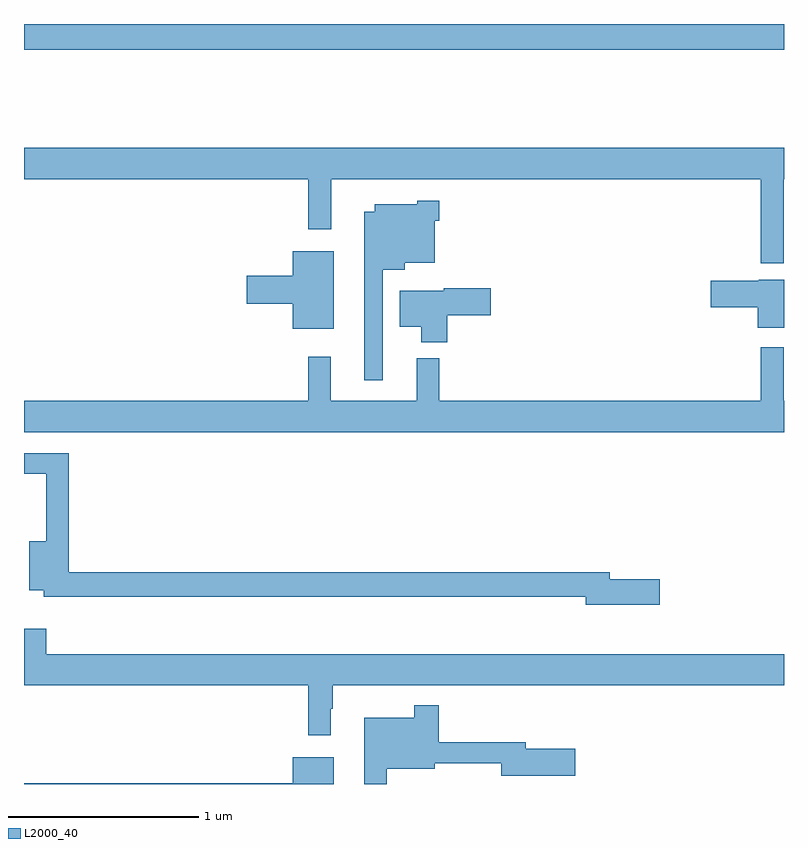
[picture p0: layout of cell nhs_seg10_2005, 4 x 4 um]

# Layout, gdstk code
import gdstk
lib = gdstk.Library(unit=1e-6, precision=1e-09)
def R(c, l, rs):  # rectangles x0, y0, x1, y1
    for r in rs: c.add(gdstk.rectangle(r[:2], r[2:], *l))
def P(c, l, *ps):  # polygons
    for p in ps: c.add(gdstk.Polygon(p, *l))
L2000_40 = (2000, 40)

nhs_seg10_2005 = lib.new_cell('nhs_seg10_2005')
R(nhs_seg10_2005, L2000_40, [(217,1266.364,221,1266.5)])
P(nhs_seg10_2005, L2000_40, [(220.999,1265.684),(221,1265.684),(221,1265.848),(217,1265.848),(217,1265.684),(218.497,1265.684),(218.497,1265.421),(218.616,1265.421),(218.616,1265.684),(220.878,1265.684),(220.878,1265.24),(220.999,1265.24)],
  [(218.889,1265.207),(219.004,1265.207),(219.004,1265.243),(219.163,1265.243),(219.163,1265.465),(219.185,1265.465),(219.185,1265.569),(219.069,1265.569),(219.069,1265.551),(218.846,1265.551),(218.846,1265.512),(218.792,1265.512),(218.792,1264.626),(218.889,1264.626)],
  [(218.629,1265.305),(218.414,1265.305),(218.414,1265.174),(218.172,1265.174),(218.172,1265.027),(218.414,1265.027),(218.414,1264.895),(218.629,1264.895)],
  [(221,1265.155),(220.866,1265.155),(220.866,1265.15),(220.614,1265.15),(220.614,1265.008),(220.862,1265.008),(220.862,1264.901),(221,1264.901)],
  [(219.227,1264.966),(219.457,1264.966),(219.457,1265.108),(219.21,1265.108),(219.21,1265.095),(218.978,1265.095),(218.978,1264.907),(219.092,1264.907),(219.092,1264.826),(219.227,1264.826)],
  [(221,1264.516),(220.999,1264.516),(220.999,1264.798),(220.878,1264.798),(220.878,1264.516),(219.185,1264.516),(219.185,1264.741),(219.068,1264.741),(219.068,1264.516),(218.615,1264.516),(218.615,1264.75),(218.497,1264.75),(218.497,1264.516),(217,1264.516),(217,1264.352),(221,1264.352)],
  [(220.345,1263.578),(220.084,1263.578),(220.084,1263.614),(217.235,1263.614),(217.235,1264.242),(217,1264.242),(217,1264.134),(217.118,1264.134),(217.118,1263.778),(217.028,1263.778),(217.028,1263.521),(217.104,1263.521),(217.104,1263.486),(219.956,1263.486),(219.956,1263.443),(220.345,1263.443)],
  [(218.614,1262.897),(218.626,1262.897),(218.626,1263.02),(221,1263.02),(221,1263.184),(217.118,1263.184),(217.118,1263.316),(217,1263.316),(217,1263.02),(218.497,1263.02),(218.497,1262.757),(218.614,1262.757)],
  [(218.909,1262.579),(219.163,1262.579),(219.163,1262.608),(219.512,1262.608),(219.512,1262.543),(219.901,1262.543),(219.901,1262.685),(219.64,1262.685),(219.64,1262.719),(219.182,1262.719),(219.182,1262.914),(219.054,1262.914),(219.054,1262.848),(218.792,1262.848),(218.792,1262.5),(218.909,1262.5)],
  [(218.629,1262.641),(218.414,1262.641),(218.414,1262.504),(217,1262.504),(217,1262.5),(218.629,1262.5)])

lib.write_gds('nhs_seg10_2005.gds')
